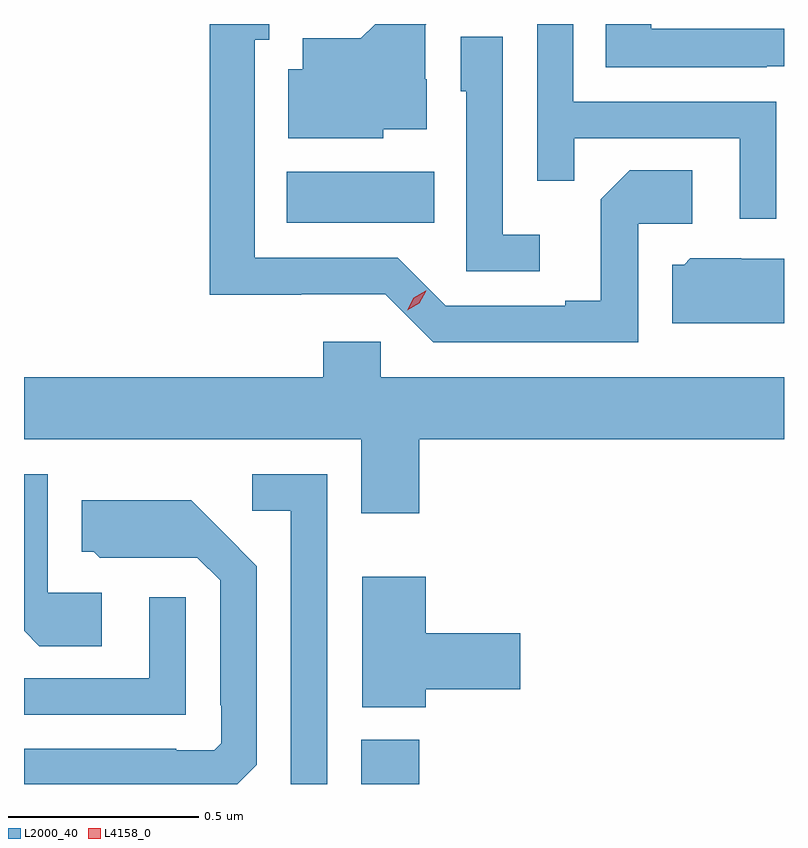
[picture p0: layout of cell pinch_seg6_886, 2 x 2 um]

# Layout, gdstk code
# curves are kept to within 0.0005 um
import gdstk
lib = gdstk.Library(unit=1e-6, precision=1e-09)
def R(c, l, rs):  # rectangles x0, y0, x1, y1
    for r in rs: c.add(gdstk.rectangle(r[:2], r[2:], *l))
def P(c, l, *ps):  # polygons
    for p in ps: c.add(gdstk.Polygon(p, *l))
L2000_40 = (2000, 40)
L4158_0 = (4158, 0)

pinch_seg6_886 = lib.new_cell('pinch_seg6_886')
R(pinch_seg6_886, L2000_40, [(135.566,975.733,135.719,975.85), (135.371,977.21,135.758,977.344)])
P(pinch_seg6_886, L2000_40, [(136.296,977.208),(136.438,977.208),(136.438,977.348),(136.273,977.348),(136.197,977.272),(136.197,977.005),(136.103,977.005),(136.103,976.992),(135.789,976.992),(135.663,977.118),(135.286,977.118),(135.286,977.691),(135.325,977.691),(135.325,977.733),(135.168,977.733),(135.168,977.021),(135.408,977.021),(135.408,977.022),(135.63,977.022),(135.756,976.896),(136.296,976.896)],
  [(136.634,977.622),(136.679,977.622),(136.679,977.72),(136.329,977.72),(136.329,977.733),(136.21,977.733),(136.21,977.619),(136.634,977.619)],
  [(135.624,977.456),(135.739,977.456),(135.739,977.588),(135.735,977.588),(135.735,977.73),(135.738,977.733),(135.603,977.733),(135.565,977.695),(135.413,977.695),(135.413,977.614),(135.374,977.614),(135.374,977.432),(135.624,977.432)],
  [(136.659,977.529),(136.125,977.529),(136.125,977.733),(136.029,977.733),(136.029,977.32),(136.127,977.32),(136.127,977.433),(136.563,977.433),(136.563,977.22),(136.659,977.22)],
  [(136.036,977.179),(135.939,977.179),(135.939,977.699),(135.828,977.699),(135.828,977.556),(135.843,977.556),(135.843,977.082),(136.036,977.082)],
  [(136.679,977.115),(136.566,977.115),(136.566,977.116),(136.432,977.116),(136.416,977.1),(136.385,977.1),(136.385,976.946),(136.679,976.946)],
  [(135.719,976.64),(136.679,976.64),(136.679,976.804),(135.618,976.804),(135.618,976.897),(135.467,976.897),(135.467,976.804),(134.679,976.804),(134.679,976.64),(135.566,976.64),(135.566,976.446),(135.719,976.446)],
  [(135.477,976.548),(135.279,976.548),(135.279,976.452),(135.381,976.452),(135.381,975.733),(135.477,975.733)],
  [(134.884,976.236),(134.742,976.236),(134.742,976.548),(134.679,976.548),(134.679,976.136),(134.719,976.096),(134.884,976.096)],
  [(135.291,975.784),(135.291,976.306),(135.119,976.48),(134.831,976.48),(134.831,976.344),(134.862,976.344),(134.878,976.328),(135.012,976.328),(135.012,976.329),(135.135,976.329),(135.195,976.269),(135.195,975.94),(135.198,975.94),(135.198,975.84),(135.18,975.822),(135.08,975.822),(135.08,975.826),(134.679,975.826),(134.679,975.733),(135.24,975.733)],
  [(135.736,975.983),(135.985,975.983),(135.985,976.13),(135.736,976.13),(135.736,976.279),(135.569,976.279),(135.569,975.935),(135.736,975.935)],
  [(135.105,976.225),(135.009,976.225),(135.009,976.011),(134.679,976.011),(134.679,975.915),(135.105,975.915)])
P(pinch_seg6_886, L4158_0, [(135.687,976.98),(135.687,976.98),(135.705,977.012),(135.736,977.031),(135.737,977.031),(135.737,977.031),(135.719,976.998),(135.687,976.98)])

lib.write_gds('pinch_seg6_886.gds')
